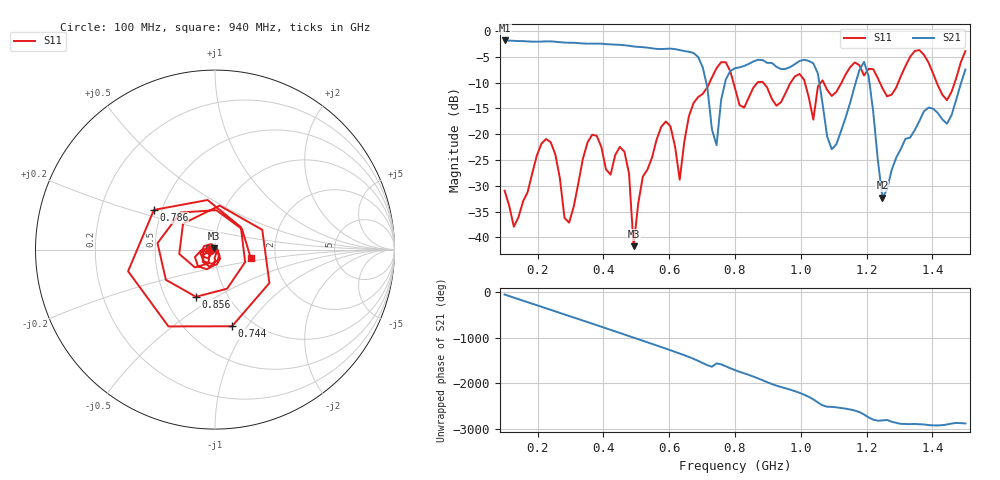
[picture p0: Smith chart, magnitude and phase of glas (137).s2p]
! NanoVNA-App
! Date: 2025-09-25 15:56:32
! Start: 100MHz Stop: 1,5GHz Points: 101
! S-Parameter data: F S11 S21 S12 S22
# Hz S RI R 50
!  Frequency  S11_Real  S11_Imag  S21_Real  S21_Imag  S12_Real  S12_Imag  S22_Real  S22_Imag
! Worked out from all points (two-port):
!   101 points, 100 MHz to 1.5 GHz, reference 50 ohm
!   highest |S21| = -1.80 dB at 100 MHz (marker M1); lowest = -32.3 dB at 1.248 GHz (marker M2)
!   |S21| within 3 dB of the highest: start of sweep to 684.3 MHz
!   lowest |S11| = -41.7 dB at 492 MHz (marker M3), VSWR 1.02, Z = 49.5 + j0.628 ohm
!   |S11| at or under -10 dB: start of sweep to 722.5 MHz; 795.4 MHz to 868.2 MHz (72.87 MHz wide, 8.76 % of centre); 886 MHz to 968.9 MHz (82.89 MHz wide, 8.94 % of centre) (the widest 3 of 7)
!   S12 and S22 are empty: the file has one direction only
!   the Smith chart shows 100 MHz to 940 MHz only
!   S11 on the Smith chart (normalised r, x): 100 MHz: 0.95, -0.01; 744 MHz: 0.81, -0.85; 786 MHz: 0.45, +0.24; 856 MHz: 0.71, -0.41; 940 MHz: 1.49, -0.15
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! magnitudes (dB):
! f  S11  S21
! 100 MHz  -31.0  -1.8
! 128 MHz  -37.9  -1.9
! 226 MHz  -20.9  -2.0
! 296 MHz  -37.2  -2.2
! 338 MHz  -24.7  -2.4
! 464 MHz  -23.4  -2.7
! 492 MHz  -41.7  -3.0
! 576 MHz  -18.5  -3.5
! 632 MHz  -28.8  -3.7
! 702 MHz  -12.2  -7.0
! 744 MHz  -7.2  -22.1
! 786 MHz  -7.8  -7.7
! 800 MHz  -11.1  -7.2
! 856 MHz  -10.9  -5.9
! 940 MHz  -13.8  -7.4
! 1.038 GHz  -17.2  -6.2
! 1.094 GHz  -12.6  -22.9
! 1.192 GHz  -8.6  -5.9
! 1.248 GHz  -11.1  -32.3
! 1.276 GHz  -12.3  -26.9
! 1.444 GHz  -13.4  -18.0
! 1.5 GHz  -3.9  -7.5
